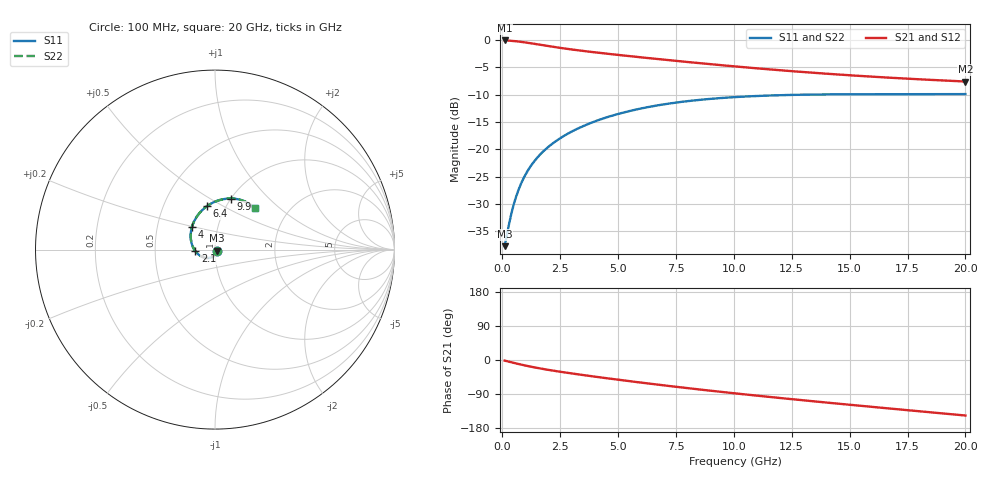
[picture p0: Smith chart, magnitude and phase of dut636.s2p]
! Touchstone file exported from HFSS 2024.1.0
!  File:  C:/UserFiles/LocalFiles/RDL_TSV_Batchsim/temp_RDL_TSV_636_1779805504.aedt
!  Generated:  10:42:58 PM May 26, 2026
!  Design:  RDL_TSV
!  Project:  temp_RDL_TSV_636_1779805504
!  Setup:  Setup1
!  Solution:  Sweep
! Variables:
!  dtsv = 13.47um
!  hbump = 3um
!  htsv = 94.98um
!  ldown = 115.55um
!  lrdl = 288.51um
!  p = 40
!  p1 = 49.58um
!  rhole = 10um
!  subl = 1500.69um
!  t = 450um
!  tdown = 4.61um
!  trdl = 2.94um
!  viad = 10um
!  wdown = 25.11um
!  wrdl = 13.92um
!  xbump = 18um
# GHz S MA R 50.000000
! Terminal data exported
! Port[1] = TM1_1_T1
! Port[2] = TM1_4_T1
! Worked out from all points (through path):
!   200 points, 100 MHz to 20 GHz, reference 50 ohm
!   highest |S21| = -0.11 dB at 100 MHz (marker M1); lowest = -7.6 dB at 20 GHz (marker M2)
!   group delay of S21, straight-line fit = 19 ps
!   lowest |S11| = -37.7 dB at 100 MHz (marker M3), VSWR 1.03, Z = 51.1 - j0.691 ohm
!   |S11| at or under -10 dB: start of sweep to 13.25 GHz
!   |S22| runs from -37.7 to -9.9 dB; largest |S21 - S12| = 2.2e-14
!   S11 on the Smith chart (normalised r, x): 100 MHz: 1.02, -0.01; 2.1 GHz: 0.80, -0.01; 4 GHz: 0.75, +0.20; 6.4 GHz: 0.82, +0.42; 9.9 GHz: 1.00, +0.63; 20 GHz: 1.36, +0.70
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0.1  0.01303 -31.3  0.9878 -1.6  0.9878 -1.6  0.01303 -31.3
! Gamma 0 0 0 0
! Port Impedance 50 0 50 0
0.3  0.02117 -70.7  0.9835 -4.7  0.9835 -4.7  0.02117 -70.7
0.4  0.02631 -82.7  0.98 -6.2  0.98 -6.2  0.02631 -82.7
0.6  0.03714 -100.8  0.9711 -9.2  0.9711 -9.2  0.03714 -100.8
0.8  0.04802 -114.9  0.9598 -12.0  0.9598 -12.0  0.04802 -114.9
1  0.05862 -127.0  0.947 -14.7  0.947 -14.7  0.05862 -127.0
1.3  0.07379 -142.6  0.9261 -18.5  0.9261 -18.5  0.07379 -142.6
1.7  0.09259 -160.4  0.8974 -23.0  0.8974 -23.0  0.0926 -160.4
2.1  0.11 -175.5  0.87 -27.2  0.87 -27.2  0.11 -175.5
2.7  0.134 165.6  0.8333 -32.8  0.8333 -32.8  0.134 165.6
3.5  0.1631 145.7  0.7919 -39.8  0.7919 -39.8  0.1632 145.7
4  0.1799 135.5  0.7692 -44.0  0.7692 -44.0  0.18 135.4
5.1  0.2131 117.2  0.7249 -52.8  0.7249 -52.8  0.2132 117.2
6.4  0.2455 100.8  0.6786 -62.7  0.6786 -62.7  0.2457 100.7
6.8  0.254 96.5  0.6653 -65.7  0.6653 -65.7  0.2542 96.5
8.2  0.2785 83.9  0.622 -75.6  0.622 -75.6  0.2787 83.9
9.9  0.2986 72.3  0.5756 -87.1  0.5756 -87.1  0.2989 72.3
10.1  0.3004 71.1  0.5706 -88.4  0.5706 -88.4  0.3007 71.1
11.7  0.3109 63.1  0.5339 -98.5  0.5339 -98.5  0.3113 63.1
13.4  0.3166 56.7  0.5009 -108.8  0.5009 -108.8  0.3169 56.7
16.7  0.3187 49.1  0.4515 -127.9  0.4515 -127.9  0.3191 49.1
20  0.3197 46.2  0.4163 -146.5  0.4163 -146.5  0.3201 46.1
